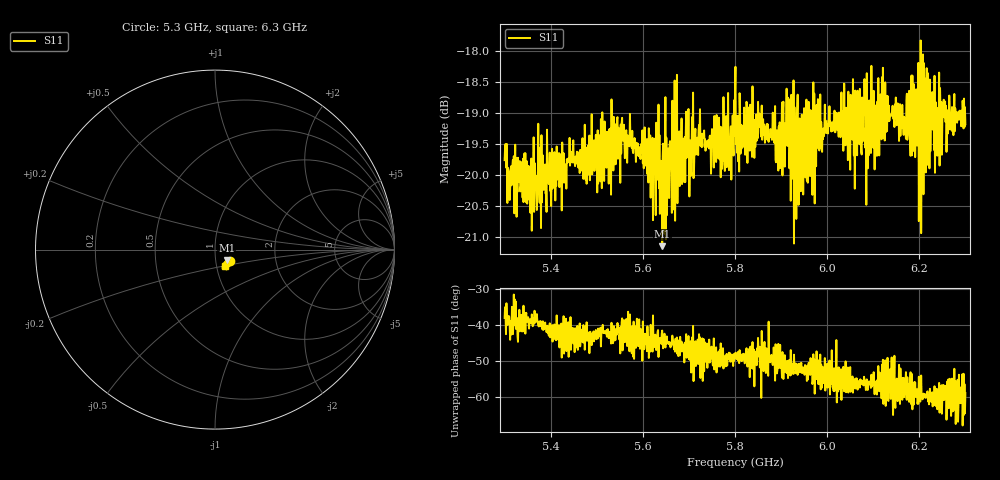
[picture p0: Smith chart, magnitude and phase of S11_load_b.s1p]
! NanoVNA-App
! Date: 2026-11-04 23:58:11
! Start: 5,3GHz Stop: 6,3GHz Points: 1001
! S-Parameter data: F S11
# Hz S RI R 50
!  Frequency  S11_Real  S11_Imag
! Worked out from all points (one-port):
!   1001 points, 5.3 GHz to 6.3 GHz, reference 50 ohm
!   lowest |S11| = -21.2 dB at 5.642 GHz (marker M1), VSWR 1.19, Z = 56.6 - j6.63 ohm
!   |S11| at or under -10 dB: start of sweep to end of sweep
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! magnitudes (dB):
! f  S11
! 5.3 GHz  -19.8
! 5.311 GHz  -20.4
! 5.351 GHz  -20.4
! 5.425 GHz  -19.5
! 5.55 GHz  -19.3
! 5.601 GHz  -19.5
! 5.642 GHz  -21.2
! 5.669 GHz  -18.5
! 5.675 GHz  -20.5
! 5.726 GHz  -19.4
! 5.791 GHz  -19.2
! 5.8 GHz  -18.7
! 5.817 GHz  -19.5
! 5.853 GHz  -19.0
! 5.893 GHz  -19.5
! 5.915 GHz  -18.8
! 5.925 GHz  -19.2
! 5.933 GHz  -20.7
! 5.965 GHz  -19.0
! 5.971 GHz  -20.0
! 5.982 GHz  -19.3
! 6.05 GHz  -19.9
! 6.081 GHz  -18.5
! 6.088 GHz  -19.9
! 6.096 GHz  -18.2
! 6.116 GHz  -18.7
! 6.175 GHz  -19.0
! 6.3 GHz  -19.2
